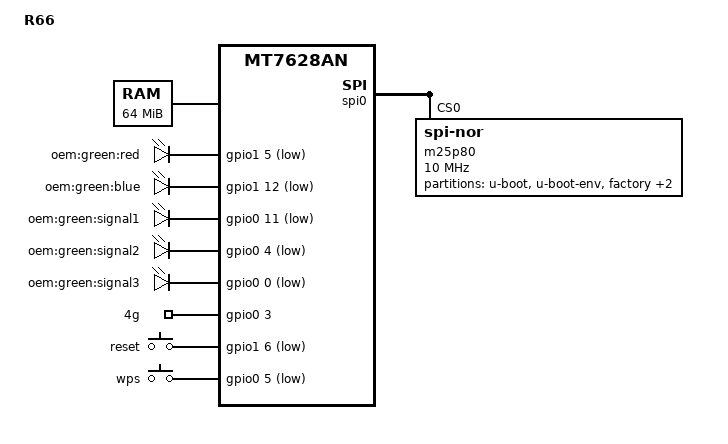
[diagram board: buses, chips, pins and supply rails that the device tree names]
/dts-v1/;

#include "mt7628an.dtsi"

#include <dt-bindings/input/input.h>
#include <dt-bindings/gpio/gpio.h>

/ {
	compatible = "OEM,MT7628", "mediatek,mt7628an-soc";
	model = "R66";

	chosen {
		bootargs = "console=ttyS0,115200";
	};

	memory@0 {
		device_type = "memory";
		reg = <0x0 0x4000000>;
	};

	gpio-leds {
		compatible = "gpio-leds";
		red {
			label = "oem:green:red";
			gpios = <&gpio1 5 GPIO_ACTIVE_LOW>;
		};

		blue {
			label = "oem:green:blue";
			gpios = <&gpio1 12 GPIO_ACTIVE_LOW>;
		};

		signal1 {
			label = "oem:green:signal1";
			gpios = <&gpio0 11 GPIO_ACTIVE_LOW>;
		};

		signal2 {
			label = "oem:green:signal2";
			gpios = <&gpio0 4 GPIO_ACTIVE_LOW>;
		};

		signal3 {
			label = "oem:green:signal3";
			gpios = <&gpio0 0 GPIO_ACTIVE_LOW>;
		};
	};

	gpio_export {
		compatible = "gpio-export";
		#size-cells = <0>;

		usb4g {
			gpio-export,name = "4g";
			gpio-export,output = <0>;
			gpios = <&gpio0 3 GPIO_ACTIVE_HIGH>;
		};
	};

	gpio-keys-polled {
		compatible = "gpio-keys-polled";
		#address-cells = <1>;
		#size-cells = <0>;
		poll-interval = <20>;
		reset {
			label = "reset";
			gpios = <&gpio1 6 GPIO_ACTIVE_LOW>;
			linux,code = <KEY_RESTART>;
		};

		wps {
			label = "wps";
			gpios = <&gpio0 5 GPIO_ACTIVE_LOW>;
			linux,code = <KEY_WPS_BUTTON>;
		};
	};
};

&ethernet {
	mtd-mac-address = <&bdinfo 0xDE00>;
	mediatek,port-map = "wllll";
};

&pinctrl {
	state_default: pinctrl0 {
		gpio {
			ralink,group = "refclk", "wled_an", "gpio";
			ralink,function = "gpio";
		};
	};
};

&spi0 {
	status = "okay";

	m25p80@0 {
		#address-cells = <1>;
		#size-cells = <1>;
		compatible = "jedec,spi-nor";
		reg = <0>;
		spi-max-frequency = <10000000>;
		m25p,chunked-io = <32>;

		partition@0 {
			label = "u-boot";
			reg = <0x0 0x30000>;
		};

		partition@30000 {
			label = "u-boot-env";
			reg = <0x30000 0x10000>;
		};

		factory: partition@40000 {
			label = "factory";
			reg = <0x40000 0x10000>;
		};

		bdinfo: partition@7f0000 {
			label = "bdinfo";
			reg = <0x7f0000 0x10000>;
		};

		partition@50000 {
			label = "firmware";
			reg = <0x50000 0x7a0000>;
		};
	};
};
